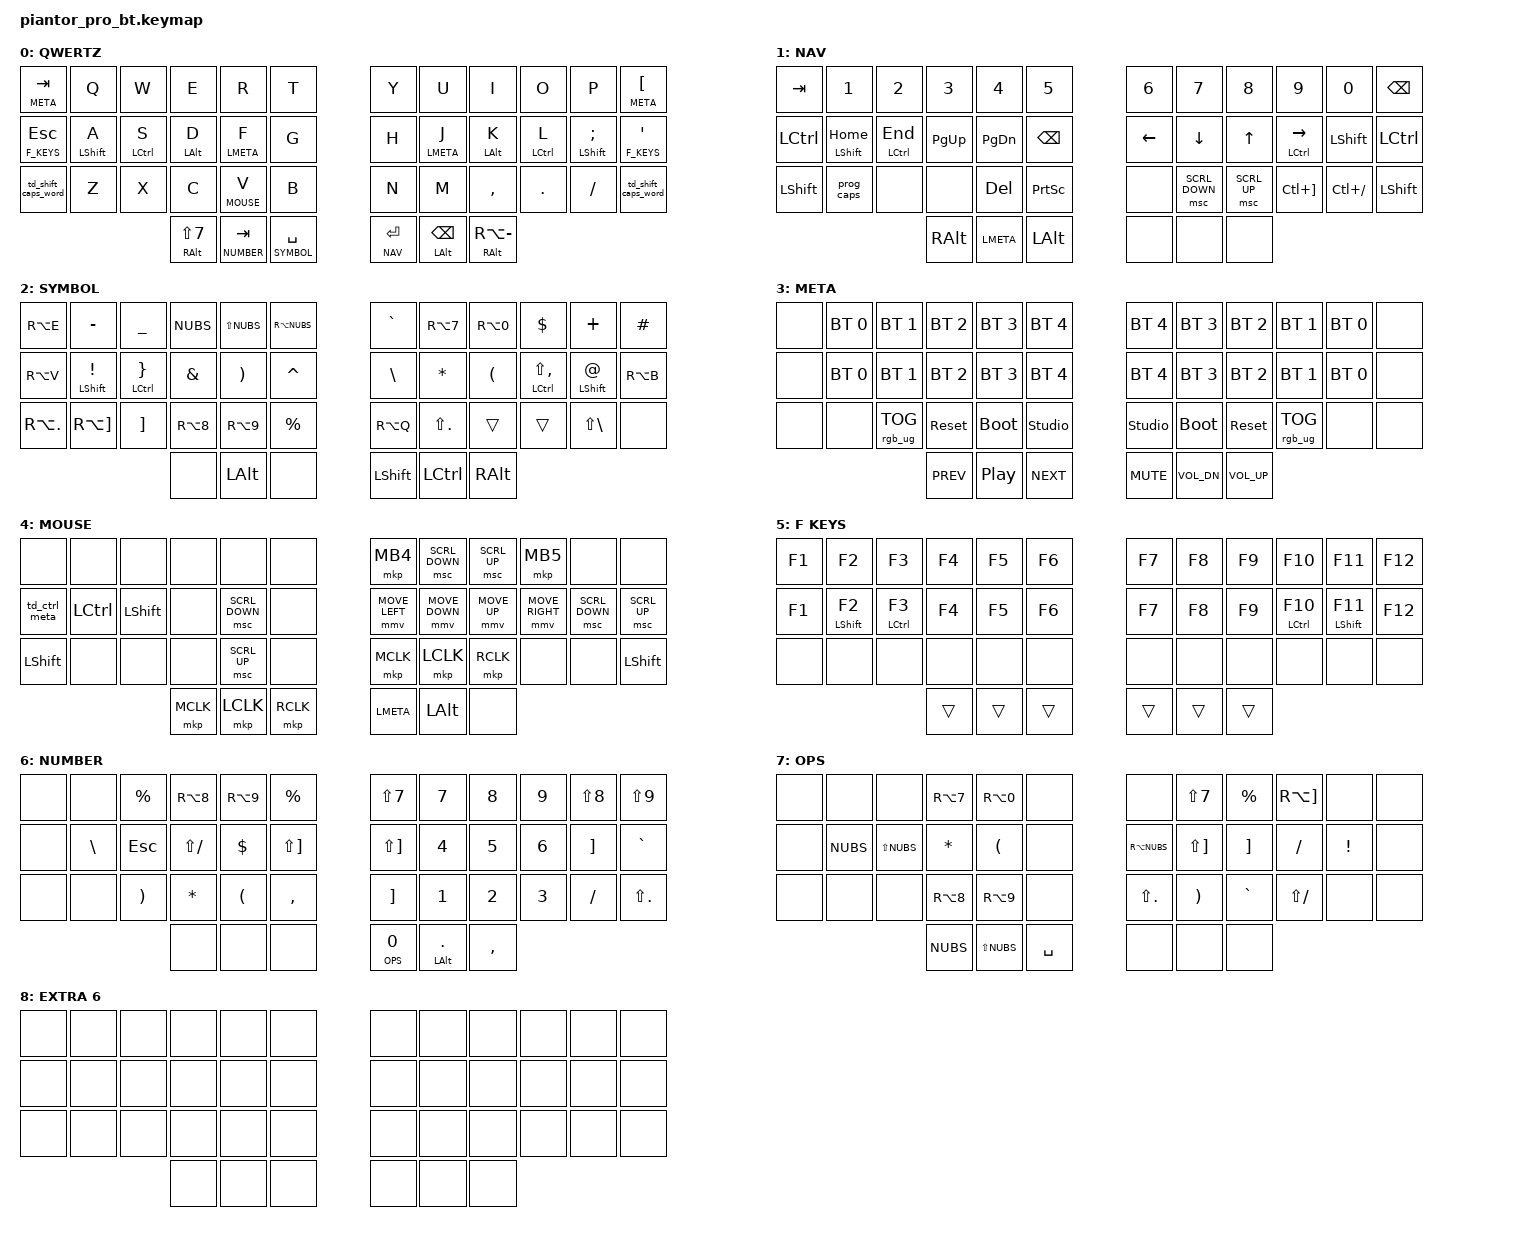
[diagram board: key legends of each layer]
/*
 * Copyright (c) 2020 The ZMK Contributors
 *
 * SPDX-License-Identifier: MIT
 */

#include <behaviors.dtsi>
#include <dt-bindings/zmk/keys.h>
#include <dt-bindings/zmk/bt.h>
#include <dt-bindings/zmk/rgb.h>
#include <dt-bindings/zmk/pointing.h>

// layer names
#define QWERTZ  0
#define NAV  1
#define SYMBOL  2
#define META    3
#define MOUSE   4
#define F_KEYS  5
#define NUMBER  6
#define OPS     7

// mouse settings
#define ZMK_POINTING_DEFAULT_MOVE_VAL 900  // default: 600
#define ZMK_POINTING_DEFAULT_SCRL_VAL 15   // default: 10

/ {
    chosen {
        zmk,physical-layout = &default_layout;
    };
};

// TODO: update tables in comments for visualizing layout
/ {
    prog_caps: programming_caps_word {
        compatible = "zmk,behavior-caps-word";
        #binding-cells = <0>;
        continue-list = <UNDERSCORE>;
    };
    macros {
        back_two: back_two {
            compatible = "zmk,behavior-macro";
            #binding-cells = <0>;
            bindings = <
                &macro_tap &kp BACKSPACE 
                &macro_tap &kp BACKSPACE 
            >;
        };
    };

    behaviors {
      td_alt_backspace_F: tab_dance_alt_mouse {
            compatible = "zmk,behavior-tap-dance";
            #binding-cells = <0>;
            tapping-term-ms = <120>;
            bindings = <&mt LALT BACKSPACE>, <&lt F_KEYS &back_two>;
      };
      td_ctrl_meta: tab_dance_ctrl_meta {
            compatible = "zmk,behavior-tap-dance";
            #binding-cells = <0>;
            tapping-term-ms = <200>;
            bindings = <&kp LCTRL>, <&mo META>;
      };
      td_shift_caps_word: tab_dance_shift_caps_word {
            compatible = "zmk,behavior-tap-dance";
            #binding-cells = <0>;
            tapping-term-ms = <200>;
            bindings = <&kp LSHIFT>, <&prog_caps>;
      };
      back_for_tick: tab_dance_backward_forward_tick {
            compatible = "zmk,behavior-tap-dance";
            #binding-cells = <0>;
            tapping-term-ms = <200>;
            bindings = <&kp PLUS &kp PLUS>, <&kp EQUAL &kp EQUAL>;
      };
    };

    keymap {
        compatible = "zmk,keymap";

        default_layer {
            display-name = "QWERTZ";
            // TODO: update ascii table
            //
            // -------------------------------------------------------------------------------------------------------------
            // |  TAB           |  Q         |  W         |  E        |  R  |  T                    |  Z          |  U   |  I       |  O      |  P            |  Ü  |
            // | CTRL/ESC       | SHFT/A     |CTRL/S      |  D        |  F  |  G                    |  H          |  J   |  K       |  CTRL/L |SHFT/Ö         |Ä/ctr|
            // | SHFT/caps word |   Y        |  X         |  C        |  V  |  B                    |  N          |  M   |  ,       |  .      |  -            | ESC |
            // | AltGr/Slash    |Super/Slash | SPC                                                  | SYMBOL/ENTER | ALT | AltGr/Backslash  |
            bindings = <
              &lt META TAB        &kp Q       &kp W       &kp E       &kp R         &kp T           &kp Y      &kp U      &kp I       &kp O       &kp P         &lt META LBKT
              &lt F_KEYS ESC      &mt LSHFT A &mt LCTRL S &mt LALT D &mt LMETA F    &kp G           &kp H      &mt LMETA J &mt LALT K &mt LCTRL L &mt LSHFT SEMI  &lt F_KEYS SQT
              &td_shift_caps_word &kp Z       &kp X       &kp C       &lt MOUSE V   &kp B           &kp N      &kp M      &kp COMMA   &kp DOT     &kp FSLH      &td_shift_caps_word
                                              &mt RALT LS(N7) &lt NUMBER TAB &lt SYMBOL SPACE       &lt NAV RET &mt LALT BACKSPACE &mt RALT RA(MINUS)
            >;
        };

        lower_layer {
            display-name = "NAV";
            // +------+---------+--------+-------+---------+------+    +-----+-----+-----+-----+-----+------+
            // |  TAB |  1      |  2     |  3    |  4      |  5   |    |  6  |  7  |  8  |  9  |  0  | BSPC |
            // | CTRL |SHFT/POS1|CTRL/EDD|PAGE UP|PAGE DOWN| BSPC |    |LEFT |DOWN |  UP |RIGHT|SHIFT| CTRL |
            // | SHFT |prog_caps|        |       | DELETE | PRINT |    |     |SRCL↓|SRCL↑|     |     | SHIFT|
            //                           | RALT  | LMETA  | LALT  |    |     |     |     |
            bindings = <
                &kp TAB   &kp N1         &kp N2        &kp N3      &kp N4        &kp N5      &kp N6   &kp N7         &kp N8       &kp N9          &kp N0       &kp BSPC
                &kp LCTRL &mt LSHFT HOME &mt LCTRL END &kp PAGE_UP &kp PAGE_DOWN &kp BSPC    &kp LEFT &kp DOWN       &kp UP       &mt LCTRL RIGHT &kp LSHFT    &kp LCTRL
                &kp LSHFT &prog_caps     &none         &none       &kp DELETE    &kp PSCRN   &none    &msc SCRL_DOWN &msc SCRL_UP &kp LC(RBKT)    &kp LC(FSLH) &kp LSHFT
                                                       &kp RALT    &kp LMETA     &kp LALT    &none    &none    &none        
            >;
        };

        raise_layer {
            display-name = "SYMBOL";
            // # see: 
            //    -- https://getreuer.info/posts/keyboards/symbol-layer/index.html
            //    -- (https://sunaku.github.io/moergo-glove80-keyboard.html#symbol-layer)
            //
            //  +-----------+---------------+---------------+-------------+-------------+---------+       +-----------+-----------+-----------+-------------------+-------------+---------+
            //  |      €    |      ß        |     ?         |      <      |     >       |    |    |       |      ^    |     {     |    }      |     $             |     `       |    §    |
            //  |      “    |      !        |     *         |     /       |     =       |    &    |       |      #    |     (     |    )      |     ;             |     "       |    “    |
            //  |      …    |      ~        |     +         |     [       |     ]       |    %    |       |      @    |     :     |    ,      |     .             |     '       |         |
            //                                              |             |     Alt     |         |       |    LSHIFT |   LCTRL   |  RALT     |

            bindings = <
                &kp RA(E)   &kp MINUS       &kp UNDER       &kp NUBS      &kp LS(NUBS)  &kp RA(NUBS)      &kp GRAVE   &kp RA(N7)  &kp RA(N0)  &kp DLLR            &kp PLUS      &kp HASH
                &kp RA(V)   &mt LSHFT EXCL  &mt LCTRL RBRC  &kp AMPS      &kp RPAR      &kp CARET         &kp BSLH    &kp ASTRK   &kp LPAR    &mt LCTRL LS(COMMA) &mt LSHFT AT  &kp RA(B)
                &kp RA(DOT) &kp RA(RBKT)    &kp RBKT        &kp RA(N8)    &kp RA(N9)    &kp PRCNT         &kp RA(Q)   &kp LS(DOT) &trans      &trans              &kp LS(BSLH)  &none
                                                            &none         &kp LALT      &none             &kp LSHIFT &kp LCTRL   &kp RALT
            >;
        };

        meta_layer {
            display-name = "META";
            bindings = <
                &none &bt BT_SEL 0 &bt BT_SEL 1    &bt BT_SEL 2 &bt BT_SEL 3 &bt BT_SEL 4      &bt BT_SEL 4    &bt BT_SEL 3 &bt BT_SEL 2 &bt BT_SEL 1    &bt BT_SEL 0 &none
                &none &bt BT_SEL 0 &bt BT_SEL 1    &bt BT_SEL 2 &bt BT_SEL 3 &bt BT_SEL 4      &bt BT_SEL 4    &bt BT_SEL 3 &bt BT_SEL 2 &bt BT_SEL 1    &bt BT_SEL 0 &none 
                &none &none        &rgb_ug RGB_TOG &sys_reset   &bootloader  &studio_unlock    &studio_unlock  &bootloader  &sys_reset   &rgb_ug RGB_TOG &none        &none 
                                                   &kp C_PREV   &kp C_PLAY_PAUSE &kp C_NEXT    &kp C_MUTE      &kp C_VOL_DN &kp C_VOL_UP
            >;
        };

        mouse_layer {
            display-name = "MOUSE";
            bindings = <
                &none         &none      &none      &none     &none          &none     &mkp MB4       &msc SCRL_DOWN &msc SCRL_UP &mkp MB5        &none  &none
                &td_ctrl_meta &kp LCTRL  &kp LSHIFT &none     &msc SCRL_DOWN &none     &mmv MOVE_LEFT &mmv MOVE_DOWN &mmv MOVE_UP &mmv MOVE_RIGHT &msc SCRL_DOWN &msc SCRL_UP
                &kp LSHIFT    &none      &none      &none     &msc SCRL_UP   &none     &mkp MCLK      &mkp LCLK      &mkp RCLK    &none           &none  &kp LSHIFT
                                                    &mkp MCLK &mkp LCLK &mkp RCLK      &kp LMETA      &kp LALT       &none       
            >;
        };

        extra_layer_3 {
            display-name = "F KEYS";
            bindings = <
                &kp F1 &kp F2        &kp F3       &kp F4 &kp F5    &kp F6  &kp F7 &kp F8 &kp F9 &kp F10       &kp F11        &kp F12
                &kp F1 &mt LSHIFT F2 &mt LCTRL F3 &kp F4 &kp F5    &kp F6  &kp F7 &kp F8 &kp F9 &mt LCTRL F10 &mt LSHIFT F11 &kp F12
                &none  &none         &none        &none  &none     &none   &none  &none  &none  &none         &none          &none
                                     &trans       &trans &trans    &trans  &trans &trans
            >;
        };

        //  +---------+---------+---------+-------------+-----------+-----+       +-------------+------+------+------+---------+-----+
        //  |         |         |   %     |     [       |  ]        |  %  |       |   /         |  7         |   8  |  9   |    (     |  )  | 
        //  |         |   #     |  ESC    |     _       |  $        |  *  |       |   *         |  4         |   5  |  6   |    +     |  ^  |
        //  |         |         |   =     |     (       |  )        |  ,  |       |   +         |  1         |   2  |  3   |    -     |  :  |
        //                                |             |           |     |       | LSHFT/0     |  LALT/DOT  |COMMA |
        extra_layer_4 {
            display-name = "NUMBER";
            bindings = <
                &none &none     &kp PRCNT &kp RA(N8)    &kp RA(N9)  &kp PRCNT         &kp LS(N7)    &kp N7       &kp N8 &kp N9 &kp LS(N8) &kp LS(N9) 
                &none &kp BSLH  &kp ESC   &kp LS(FSLH)  &kp DLLR    &kp LS(RBKT)      &kp LS(RBKT)  &kp N4       &kp N5 &kp N6 &kp RBKT   &kp GRAVE 
                &none &none     &kp RPAR  &kp ASTRK     &kp LPAR    &kp COMMA         &kp RBKT      &kp N1       &kp N2 &kp N3 &kp FSLH   &kp LS(DOT)
                                          &none         &none       &none             &lt OPS N0    &mt LALT DOT &kp COMMA
            >;
        };

        //      +-------+---------+-------+-------+-------+-----+                   +-------------+-------------+---------+-------------+---------+------+
        //      |       |         |       |   {   |   }   |     |                   |             |   /         |   %     |   ~         |         |     |
        //      |       |   <     |   >   |   (   |   )   |     |                   |   |         |   *         |   +     |   -         |   !     |     |
        //      |       |         |       |   [   |   ]   |     |                   |   :         |   =         |   ^     |   _         |         |     |
        //                              |   <   |   >   |SPACE|                     |             |             |         |
        extra_layer_5 {
            display-name = "OPS";
            bindings = <
                &none   &none     &none         &kp RA(N7)  &kp RA(N0)  &none       &none         &kp LS(N7)    &kp PRCNT &kp RA(RBKT)  &none     &none
                &none   &kp NUBS  &kp LS(NUBS)  &kp ASTRK   &kp LPAR    &none       &kp RA(NUBS)  &kp LS(RBKT)  &kp RBKT  &kp FSLH      &kp EXCL  &none
                &none   &none     &none         &kp RA(N8)  &kp RA(N9)  &none       &kp LS(DOT)   &kp RPAR      &kp GRAVE &kp LS(FSLH)  &none     &none
                                                &kp NUBS    &kp LS(NUBS) &kp SPACE  &none         &none         &none
            >;
        };

        extra_layer_6 {
            display-name = "EXTRA 6";
            bindings = <
                &none &none &none &none &none &none  &none &none &none &none &none &none
                &none &none &none &none &none &none  &none &none &none &none &none &none
                &none &none &none &none &none &none  &none &none &none &none &none &none
                                     &none &none &none  &none &none &none       
            >;
        };
    };
};
